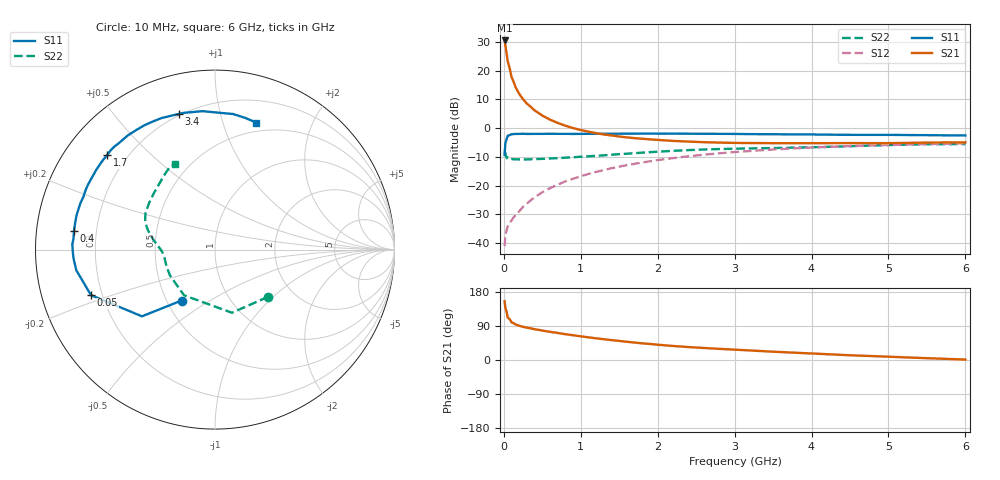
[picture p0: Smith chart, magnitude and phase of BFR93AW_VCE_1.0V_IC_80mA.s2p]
! Infineon Technologies  Discrete & RF Semiconductors
! BFR93AW
! VCE =  1.0 V,  IC =  80 mA
! Common Emitter S-Parameters:  Jan 2017
# GHz  S  MA  R  50
!  f  S11  S21  S12  S22
! GHz  MAG  ANG  MAG  ANG  MAG  ANG  MAG  ANG
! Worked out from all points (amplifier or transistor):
!   77 points, 10 MHz to 6 GHz, reference 50 ohm
!   highest |S21| = 30.5 dB at 10 MHz (marker M1)
!   |S21| within 3 dB of that: start of sweep to 27.44 MHz
!   unconditionally stable (mu >= 1): start of sweep to 15.83 MHz; 84.37 MHz to end of sweep
!   at 130 MHz: K = 1.19, MAG = 20.8 dB, |S12| = -31.0 dB
!   at 2.2 GHz: K = 1.23, MAG = 0.1 dB, |S12| = -10.5 dB
!   at 6 GHz: K = 1.07, MAG = -1.5 dB, |S12| = -5.3 dB
!   S11 on the Smith chart (normalised r, x): 10 MHz: 0.59, -0.38; 50 MHz: 0.16, -0.17; 400 MHz: 0.12, +0.07; 1.7 GHz: 0.13, +0.37; 3.4 GHz: 0.19, +0.75; 6 GHz: 0.41, +1.29
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0.01  0.3398 -123.3  33.49 155.1  0.0088 50.2  0.3953 -41.7
0.02  0.5514 -137.6  27.21 137.1  0.0136 46.3  0.3643 -75.0
0.04  0.6643 -153.8  18.29 124.1  0.0174 41.0  0.2989 -106.2
0.05  0.7357 -159.8  14.49 112.0  0.0194 39.2  0.3074 -124.1
0.1  0.7813 -171.5  7.721 99.4  0.0247 46.2  0.2892 -150.3
0.15  0.7897 -176.4  5.223 94.0  0.0306 52.0  0.2862 -160.2
0.2  0.7928 -179.6  3.941 90.4  0.0355 58.2  0.2846 -165.3
0.25  0.7955 177.9  3.17 87.5  0.0427 60.5  0.2843 -168.7
0.3  0.791 175.8  2.658 85.3  0.0487 63.6  0.285 -170.9
0.4  0.7928 172.3  2.028 81.2  0.0621 66.4  0.2877 -173.9
0.5  0.7933 169.1  1.648 77.6  0.0763 68.2  0.291 -176.1
0.6  0.7948 166.2  1.403 74.3  0.09 68.3  0.2959 -177.8
0.7  0.7935 163.6  1.229 71.4  0.1036 68.6  0.2996 -179.3
0.9  0.79 158.2  1 65.3  0.1314 67.3  0.3101 178.2
1.1  0.7947 153.1  0.866 59.8  0.1591 65.9  0.3231 175.5
1.7  0.7989 138.9  0.668 46.0  0.239 58.7  0.3655 167.7
2.1  0.7991 129.9  0.61 38.7  0.2886 53.0  0.3948 162.7
3.1  0.7877 110.3  0.55 26.2  0.3904 39.0  0.4398 150.4
3.4  0.7821 104.9  0.547 23.0  0.4152 35.0  0.4467 146.2
4.1  0.7713 93.8  0.546 16.3  0.4645 26.0  0.4672 135.5
5.1  0.7597 81.3  0.549 7.9  0.512 14.5  0.5098 122.2
6  0.7437 72.2  0.564 1.2  0.5406 5.6  0.526 114.9
